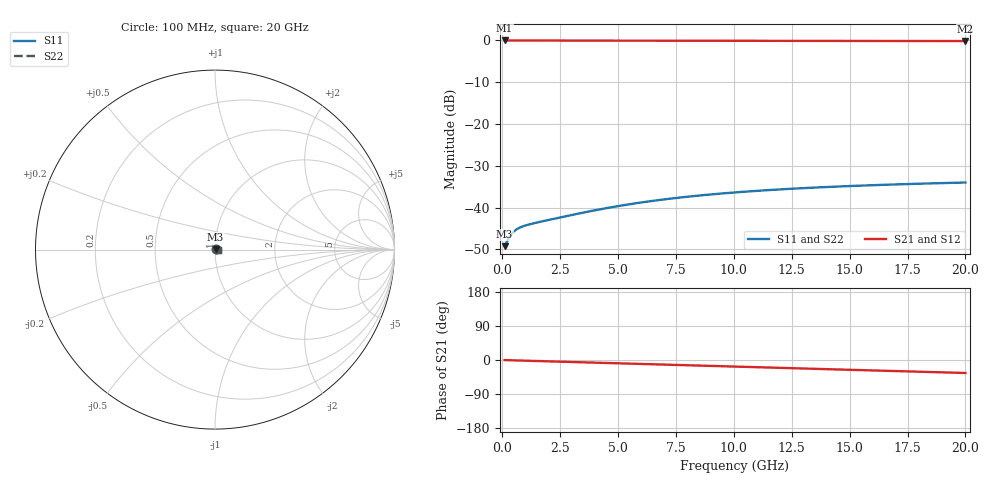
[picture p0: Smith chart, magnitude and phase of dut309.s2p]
! Touchstone file exported from HFSS 2026.1.0
!  File:  C:/ffzhzh/LocalFiles/Ansys_Project_Files/temp_train_TMRDL_309_1783003220_55676.aedt
!  Generated:  10:41:32 PM Jul  2, 2026
!  Design:  TMRDL
!  Project:  temp_train_TMRDL_309_1783003220_55676
! Variables:
!  h_bsmrdl = 2um
!  h_ox = 20um
!  h_rdl = 5um
!  h_sub = 80um
!  h_tmrdl = 3.27um
!  h_tsv = 80um
!  h_via = 3um
!  l_bsmrdl = 300um
!  l_sub = 1010.16um
!  l_tmrdl = 610.16um
!  m_sub = 200um
!  pitch = 25.22um
!  r_tsv = 6um
!  s_tmrdl = 10um
!  w_bsmrdl = 18um
!  w_sub = 500um
!  w_tmrdl = 21.28um
!  x_tsv_center1 = 620.8um
!  x_tsv_center2 = 938.8um
!  x_tsv_center3 = 1570.24um
!  x_tsv_center4 = 1888.24um
!  x_tsv_center5 = 2519.68um
!  x_tsv_center6 = 2837.68um
# GHz S MA R 50.000000
! Terminal data exported
! Port[1] = TM_RDL1_1_T1
! Port[2] = TM_RDL1_1_T2
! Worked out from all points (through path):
!   200 points, 100 MHz to 20 GHz, reference 50 ohm
!   highest |S21| = -0.03 dB at 100 MHz (marker M1); lowest = -0.2 dB at 20 GHz (marker M2)
!   group delay of S21, straight-line fit = 4.74 ps
!   lowest |S11| = -49.2 dB at 100 MHz (marker M3), VSWR 1.01, Z = 50.3 + j0.0697 ohm
!   |S11| at or under -10 dB: start of sweep to end of sweep
!   |S22| runs from -49.2 to -34.1 dB; largest |S21 - S12| = 2.1e-15
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0.1  0.003453 11.6  0.9966 -0.2  0.9966 -0.2  0.003453 11.6
! Gamma 0 0 0 0
! Port Impedance 50 0 50 0
0.3  0.004403 21.6  0.9959 -0.6  0.9959 -0.6  0.004403 21.6
0.4  0.004834 22.4  0.9956 -0.8  0.9956 -0.8  0.004833 22.4
0.5  0.005177 22.3  0.9952 -1.0  0.9952 -1.0  0.005176 22.3
0.6  0.005446 22.0  0.995 -1.1  0.995 -1.1  0.005445 22.0
0.7  0.005659 21.7  0.9948 -1.3  0.9948 -1.3  0.005658 21.7
0.8  0.005833 21.5  0.9946 -1.5  0.9946 -1.5  0.005831 21.5
1  0.006108 21.4  0.9944 -1.8  0.9944 -1.8  0.006106 21.4
1.4  0.00653 22.1  0.994 -2.5  0.994 -2.5  0.006528 22.1
3.5  0.008709 27.0  0.9927 -6.2  0.9927 -6.2  0.008706 27.1
4.3  0.009617 27.2  0.9921 -7.6  0.9921 -7.6  0.009613 27.2
5.1  0.01052 26.5  0.9914 -9.0  0.9914 -9.0  0.01051 26.6
5.9  0.01139 25.3  0.9907 -10.4  0.9907 -10.4  0.01139 25.3
6.8  0.01233 23.4  0.9898 -11.9  0.9898 -11.9  0.01232 23.5
7.6  0.01311 21.4  0.9891 -13.3  0.9891 -13.3  0.01309 21.5
8.4  0.01384 19.3  0.9884 -14.7  0.9884 -14.7  0.01382 19.4
10.1  0.01521 14.4  0.9869 -17.6  0.9869 -17.6  0.01519 14.5
11.7  0.01631 9.6  0.9856 -20.3  0.9856 -20.3  0.01627 9.7
13.4  0.0173 4.5  0.9843 -23.1  0.9843 -23.1  0.01725 4.7
15  0.01809 -0.2  0.9831 -25.8  0.9831 -25.8  0.01803 0.0
16.7  0.01881 -5.1  0.982 -28.7  0.982 -28.7  0.01874 -4.9
20  0.01993 -14.4  0.9801 -34.3  0.9801 -34.3  0.01984 -14.1
